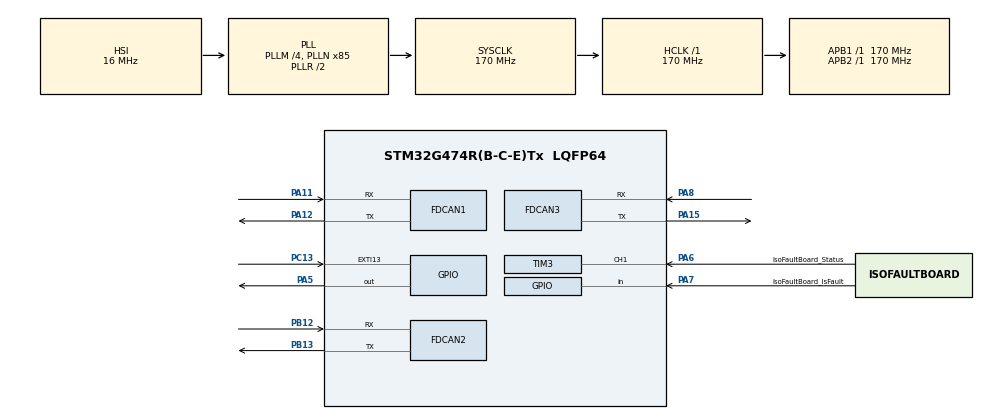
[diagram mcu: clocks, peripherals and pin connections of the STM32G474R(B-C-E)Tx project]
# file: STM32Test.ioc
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FDCAN1.CalculateBaudRateNominal=250000
FDCAN1.CalculateTimeBitNominal=4000
FDCAN1.CalculateTimeQuantumNominal=400.0
FDCAN1.NominalPrescaler=68
FDCAN1.NominalTimeSeg1=5
FDCAN1.NominalTimeSeg2=4
FDCAN2.CalculateBaudRateNominal=250000
FDCAN2.CalculateTimeBitNominal=4000
FDCAN2.CalculateTimeQuantumNominal=400.0
FDCAN2.NominalPrescaler=68
FDCAN2.NominalTimeSeg1=5
FDCAN2.NominalTimeSeg2=4
FDCAN3.CalculateBaudRateNominal=250000
FDCAN3.CalculateTimeBitNominal=4000
FDCAN3.CalculateTimeQuantumNominal=400.0
FDCAN3.NominalPrescaler=68
FDCAN3.NominalTimeSeg1=5
FDCAN3.NominalTimeSeg2=4
Mcu.Family=STM32G4
Mcu.Name=STM32G474R(B-C-E)Tx
Mcu.Package=LQFP64
NUCLEO-G474RE.BUTTON=1
NUCLEO-G474RE.LD2=true
NUCLEO-G474RE.VCP=true
NVIC.EXTI15_10_IRQn=true\:0\:0\:false\:false\:true\:true\:true\:true
NVIC.PriorityGroup=NVIC_PRIORITYGROUP_4
NVIC.TIM3_IRQn=true\:0\:0\:false\:false\:true\:true\:true\:true
PA11.Mode=FDCAN_Activate
PA11.Signal=FDCAN1_RX
PA12.Mode=FDCAN_Activate
PA12.Signal=FDCAN1_TX
PA13.GPIO_Label=T_SWDIO
PA13.Signal=SYS_JTMS-SWDIO
PA14.GPIO_Label=T_SWCLK
PA14.Signal=SYS_JTCK-SWCLK
PA15.Mode=FDCAN_Activate
PA15.Signal=FDCAN3_TX
PA2.Signal=LPUART1_TX
PA3.Signal=LPUART1_RX
PA5.Signal=GPIO_Output
PA6.GPIO_Label=IsoFaultBoard_Status
PA6.Signal=S_TIM3_CH1
PA7.GPIO_Label=IsoFaultBoard_IsFault
PA7.Signal=GPIO_Input
PA8.Mode=FDCAN_Activate
PA8.Signal=FDCAN3_RX
PB12.Mode=FDCAN_Activate
PB12.Signal=FDCAN2_RX
PB13.Mode=FDCAN_Activate
PB13.Signal=FDCAN2_TX
PB3.GPIO_Label=T_SWO
PB3.Signal=SYS_JTDO-SWO
PC13.Signal=GPXTI13
PC14-OSC32_IN.GPIO_Label=RCC_OSC32_IN
PC14-OSC32_IN.Signal=RCC_OSC32_IN
PC15-OSC32_OUT.GPIO_Label=RCC_OSC32_OUT
PC15-OSC32_OUT.Signal=RCC_OSC32_OUT
PF0-OSC_IN.GPIO_Label=RCC_OSC_IN
PF0-OSC_IN.Signal=RCC_OSC_IN
PF1-OSC_OUT.GPIO_Label=RCC_OSC_OUT
PF1-OSC_OUT.Signal=RCC_OSC_OUT
ProjectManager.HeapSize=0x200
ProjectManager.StackSize=0x400
ProjectManager.TargetToolchain=Makefile
RCC.ADC12Freq_Value=170000000
RCC.ADC345Freq_Value=170000000
RCC.AHBFreq_Value=170000000
RCC.APB1Freq_Value=170000000
RCC.APB1TimFreq_Value=170000000
RCC.APB2Freq_Value=170000000
RCC.APB2TimFreq_Value=170000000
RCC.CortexFreq_Value=170000000
RCC.EXTERNAL_CLOCK_VALUE=12288000
RCC.HCLKFreq_Value=170000000
RCC.HSE_VALUE=24000000
RCC.HSI48_VALUE=48000000
RCC.HSI_VALUE=16000000
RCC.LSE_VALUE=32768
RCC.PLLM=RCC_PLLM_DIV4
RCC.PLLN=85
RCC.RTCClockSelection=RCC_RTCCLKSOURCE_LSE
RCC.SYSCLKFreq_VALUE=170000000
RCC.SYSCLKSource=RCC_SYSCLKSOURCE_PLLCLK
RCC.USBFreq_Value=170000000
RCC.VCOOutputFreq_Value=340000000
SH.S_TIM3_CH1.0=TIM3_CH1,Input_Capture1_from_TI1
TIM3.Channel-Input_Capture1_from_TI1=TIM_CHANNEL_1
TIM3.ICFilter_CH1=0x0
TIM3.ICPolarity_CH1=TIM_INPUTCHANNELPOLARITY_BOTHEDGE
TIM3.PeriodNoDither=0xffff
TIM3.Prescaler=679
VP_NUCLEO-G474RE_VS_BSP_COMMON.Mode=COMMON
VP_SYS_VS_DBSignals.Mode=DisableDeadBatterySignals
board=NUCLEO-G474RE

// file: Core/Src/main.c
/* USER CODE BEGIN Header */
/**
 ******************************************************************************
 * @file           : main.c
 * @brief          : Main program body
 ******************************************************************************
 * @attention
 *
 * Copyright (c) 2024 STMicroelectronics.
 * All rights reserved.
 *
 * This software is licensed under terms that can be found in the LICENSE file
 * in the root directory of this software component.
 * If no LICENSE file comes with this software, it is provided AS-IS.
 *
 ******************************************************************************
 */
/* USER CODE END Header */
#include "main.h"

/* USER CODE BEGIN Includes */
#include "can_mimic.h"
#include "iso_fault_lib.h"
#include <stdlib.h>
/* USER CODE END Includes */

COM_InitTypeDef BspCOMInit;
FDCAN_HandleTypeDef hfdcan1;
FDCAN_HandleTypeDef hfdcan2;
FDCAN_HandleTypeDef hfdcan3;

TIM_HandleTypeDef htim3;

/* USER CODE BEGIN PV */
volatile int five = 0;
/* USER CODE END PV */

void SystemClock_Config(void);
static void MX_GPIO_Init(void);
static void MX_FDCAN1_Init(void);
static void MX_TIM3_Init(void);
static void MX_FDCAN2_Init(void);
static void MX_FDCAN3_Init(void);

/* USER CODE BEGIN 0 */
void BSP_PB_Callback(Button_TypeDef Button) {
    if (Button == BUTTON_USER) {
        BSP_LED_Toggle(LED_GREEN);
    }
}
/* USER CODE END 0 */

int main(void) {

    /* USER CODE BEGIN 1 */
    float *measuredFreq = malloc(sizeof(float *));
    float *measuredDutyCycle = malloc(sizeof(float *));
    char *messageToSend = malloc(100 * sizeof(char));
    int noChars;
    /* USER CODE END 1 */

    /* MCU Configuration--------------------------------------------------------*/

    /* Reset of all peripherals, Initializes the Flash interface and the Systick. */
    HAL_Init();

    /* Configure the system clock */
    SystemClock_Config();

    /* Initialize all configured peripherals */
    MX_GPIO_Init();
    MX_FDCAN1_Init();
    MX_TIM3_Init();
    MX_FDCAN2_Init();
    MX_FDCAN3_Init();
    /* USER CODE BEGIN 2 */
    IsoFault_Init(&htim3);
    /* USER CODE END 2 */

    /* Initialize led */
    BSP_LED_Init(LED_GREEN);

    /* Initialize USER push-button, will be used to trigger an interrupt each time it's pressed.*/
    BSP_PB_Init(BUTTON_USER, BUTTON_MODE_EXTI);

    /* Initialize COM1 port (115200, 8 bits (7-bit data + 1 stop bit), no parity */
    BspCOMInit.BaudRate = 115200;
    BspCOMInit.WordLength = COM_WORDLENGTH_8B;
    BspCOMInit.StopBits = COM_STOPBITS_1;
    BspCOMInit.Parity = COM_PARITY_NONE;
    BspCOMInit.HwFlowCtl = COM_HWCONTROL_NONE;
    if (BSP_COM_Init(COM1, &BspCOMInit) != BSP_ERROR_NONE) {
        Error_Handler();
    }

    /* Infinite loop */
    /* USER CODE BEGIN WHILE */
    while (1) {
        get_signal_measurements(measuredFreq, measuredDutyCycle);
        noChars = sprintf(messageToSend, "Frequency: %.2f Hz\tDuty cycle: %.2f%%\t%.2f kohm\r\n", *measuredFreq, *measuredDutyCycle * 100, IsoFault_GetResistance_kOhms());
        HAL_UART_Transmit(hcom_uart, (uint8_t *)messageToSend, noChars, 1000);

        // CAN Time!
        FDCAN_SendMessage(&hfdcan1, 0x123, (uint8_t *)messageToSend, noChars);
        HAL_Delay(250);
        /* USER CODE END WHILE */

    }
}

void SystemClock_Config(void) {
    RCC_OscInitTypeDef RCC_OscInitStruct = {0};
    RCC_ClkInitTypeDef RCC_ClkInitStruct = {0};

    /** Configure the main internal regulator output voltage
     */
    HAL_PWREx_ControlVoltageScaling(PWR_REGULATOR_VOLTAGE_SCALE1_BOOST);

    /** Initializes the RCC Oscillators according to the specified parameters
     * in the RCC_OscInitTypeDef structure.
     */
    RCC_OscInitStruct.OscillatorType = RCC_OSCILLATORTYPE_HSI;
    RCC_OscInitStruct.HSIState = RCC_HSI_ON;
    RCC_OscInitStruct.HSICalibrationValue = RCC_HSICALIBRATION_DEFAULT;
    RCC_OscInitStruct.PLL.PLLState = RCC_PLL_ON;
    RCC_OscInitStruct.PLL.PLLSource = RCC_PLLSOURCE_HSI;
    RCC_OscInitStruct.PLL.PLLM = RCC_PLLM_DIV4;
    RCC_OscInitStruct.PLL.PLLN = 85;
    RCC_OscInitStruct.PLL.PLLP = RCC_PLLP_DIV2;
    RCC_OscInitStruct.PLL.PLLQ = RCC_PLLQ_DIV2;
    RCC_OscInitStruct.PLL.PLLR = RCC_PLLR_DIV2;
    if (HAL_RCC_OscConfig(&RCC_OscInitStruct) != HAL_OK) {
        Error_Handler();
    }

    /** Initializes the CPU, AHB and APB buses clocks
     */
    RCC_ClkInitStruct.ClockType = RCC_CLOCKTYPE_HCLK | RCC_CLOCKTYPE_SYSCLK | RCC_CLOCKTYPE_PCLK1 | RCC_CLOCKTYPE_PCLK2;
    RCC_ClkInitStruct.SYSCLKSource = RCC_SYSCLKSOURCE_PLLCLK;
    RCC_ClkInitStruct.AHBCLKDivider = RCC_SYSCLK_DIV1;
    RCC_ClkInitStruct.APB1CLKDivider = RCC_HCLK_DIV1;
    RCC_ClkInitStruct.APB2CLKDivider = RCC_HCLK_DIV1;

    if (HAL_RCC_ClockConfig(&RCC_ClkInitStruct, FLASH_LATENCY_4) != HAL_OK) {
        Error_Handler();
    }
}

static void MX_FDCAN1_Init(void) {

    hfdcan1.Instance = FDCAN1;
    hfdcan1.Init.ClockDivider = FDCAN_CLOCK_DIV1;
    hfdcan1.Init.FrameFormat = FDCAN_FRAME_CLASSIC;
    hfdcan1.Init.Mode = FDCAN_MODE_NORMAL;
    hfdcan1.Init.AutoRetransmission = DISABLE;
    hfdcan1.Init.TransmitPause = DISABLE;
    hfdcan1.Init.ProtocolException = DISABLE;
    hfdcan1.Init.NominalPrescaler = 68;
    hfdcan1.Init.NominalSyncJumpWidth = 1;
    hfdcan1.Init.NominalTimeSeg1 = 5;
    hfdcan1.Init.NominalTimeSeg2 = 4;
    hfdcan1.Init.DataPrescaler = 1;
    hfdcan1.Init.DataSyncJumpWidth = 1;
    hfdcan1.Init.DataTimeSeg1 = 1;
    hfdcan1.Init.DataTimeSeg2 = 1;
    hfdcan1.Init.StdFiltersNbr = 0;
    hfdcan1.Init.ExtFiltersNbr = 0;
    hfdcan1.Init.TxFifoQueueMode = FDCAN_TX_FIFO_OPERATION;
    if (HAL_FDCAN_Init(&hfdcan1) != HAL_OK) {
        Error_Handler();
    }
}

static void MX_FDCAN2_Init(void) {

    hfdcan2.Instance = FDCAN2;
    hfdcan2.Init.ClockDivider = FDCAN_CLOCK_DIV1;
    hfdcan2.Init.FrameFormat = FDCAN_FRAME_CLASSIC;
    hfdcan2.Init.Mode = FDCAN_MODE_NORMAL;
    hfdcan2.Init.AutoRetransmission = DISABLE;
    hfdcan2.Init.TransmitPause = DISABLE;
    hfdcan2.Init.ProtocolException = DISABLE;
    hfdcan2.Init.NominalPrescaler = 68;
    hfdcan2.Init.NominalSyncJumpWidth = 1;
    hfdcan2.Init.NominalTimeSeg1 = 5;
    hfdcan2.Init.NominalTimeSeg2 = 4;
    hfdcan2.Init.DataPrescaler = 1;
    hfdcan2.Init.DataSyncJumpWidth = 1;
    hfdcan2.Init.DataTimeSeg1 = 1;
    hfdcan2.Init.DataTimeSeg2 = 1;
    hfdcan2.Init.StdFiltersNbr = 0;
    hfdcan2.Init.ExtFiltersNbr = 0;
    hfdcan2.Init.TxFifoQueueMode = FDCAN_TX_FIFO_OPERATION;
    if (HAL_FDCAN_Init(&hfdcan2) != HAL_OK) {
        Error_Handler();
    }
}

static void MX_FDCAN3_Init(void) {

    hfdcan3.Instance = FDCAN3;
    hfdcan3.Init.ClockDivider = FDCAN_CLOCK_DIV1;
    hfdcan3.Init.FrameFormat = FDCAN_FRAME_CLASSIC;
    hfdcan3.Init.Mode = FDCAN_MODE_NORMAL;
    hfdcan3.Init.AutoRetransmission = DISABLE;
    hfdcan3.Init.TransmitPause = DISABLE;
    hfdcan3.Init.ProtocolException = DISABLE;
    hfdcan3.Init.NominalPrescaler = 68;
    hfdcan3.Init.NominalSyncJumpWidth = 1;
    hfdcan3.Init.NominalTimeSeg1 = 5;
    hfdcan3.Init.NominalTimeSeg2 = 4;
    hfdcan3.Init.DataPrescaler = 1;
    hfdcan3.Init.DataSyncJumpWidth = 1;
    hfdcan3.Init.DataTimeSeg1 = 1;
    hfdcan3.Init.DataTimeSeg2 = 1;
    hfdcan3.Init.StdFiltersNbr = 0;
    hfdcan3.Init.ExtFiltersNbr = 0;
    hfdcan3.Init.TxFifoQueueMode = FDCAN_TX_FIFO_OPERATION;
    if (HAL_FDCAN_Init(&hfdcan3) != HAL_OK) {
        Error_Handler();
    }
}

static void MX_TIM3_Init(void) {

    TIM_MasterConfigTypeDef sMasterConfig = {0};
    TIM_IC_InitTypeDef sConfigIC = {0};

    htim3.Instance = TIM3;
    htim3.Init.Prescaler = 679;
    htim3.Init.CounterMode = TIM_COUNTERMODE_UP;
    htim3.Init.Period = 65535;
    htim3.Init.ClockDivision = TIM_CLOCKDIVISION_DIV1;
    htim3.Init.AutoReloadPreload = TIM_AUTORELOAD_PRELOAD_DISABLE;
    if (HAL_TIM_IC_Init(&htim3) != HAL_OK) {
        Error_Handler();
    }
    sMasterConfig.MasterOutputTrigger = TIM_TRGO_RESET;
    sMasterConfig.MasterSlaveMode = TIM_MASTERSLAVEMODE_DISABLE;
    if (HAL_TIMEx_MasterConfigSynchronization(&htim3, &sMasterConfig) != HAL_OK) {
        Error_Handler();
    }
    sConfigIC.ICPolarity = TIM_INPUTCHANNELPOLARITY_BOTHEDGE;
    sConfigIC.ICSelection = TIM_ICSELECTION_DIRECTTI;
    sConfigIC.ICPrescaler = TIM_ICPSC_DIV1;
    sConfigIC.ICFilter = 0x0;
    if (HAL_TIM_IC_ConfigChannel(&htim3, &sConfigIC, TIM_CHANNEL_1) != HAL_OK) {
        Error_Handler();
    }
}

static void MX_GPIO_Init(void) {
    GPIO_InitTypeDef GPIO_InitStruct = {0};

    /* GPIO Ports Clock Enable */
    __HAL_RCC_GPIOC_CLK_ENABLE();
    __HAL_RCC_GPIOF_CLK_ENABLE();
    __HAL_RCC_GPIOA_CLK_ENABLE();
    __HAL_RCC_GPIOB_CLK_ENABLE();

    /*Configure GPIO pin : IsoFaultBoard_IsFault_Pin */
    GPIO_InitStruct.Pin = IsoFaultBoard_IsFault_Pin;
    GPIO_InitStruct.Mode = GPIO_MODE_INPUT;
    GPIO_InitStruct.Pull = GPIO_NOPULL;
    HAL_GPIO_Init(IsoFaultBoard_IsFault_GPIO_Port, &GPIO_InitStruct);

}

void Error_Handler(void) {
    __disable_irq();
    while (1) {
    }
}
